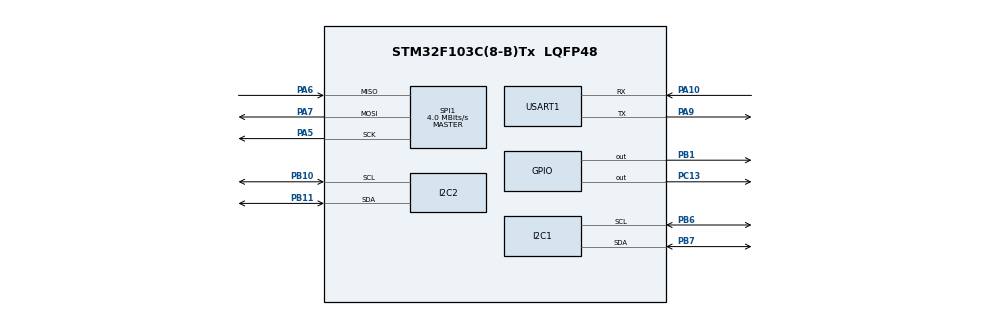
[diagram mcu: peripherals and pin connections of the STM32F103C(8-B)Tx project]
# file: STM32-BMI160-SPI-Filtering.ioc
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Dma.MEMTOMEM.0.Direction=DMA_MEMORY_TO_MEMORY
Dma.MEMTOMEM.0.Instance=DMA1_Channel1
Dma.MEMTOMEM.0.MemDataAlignment=DMA_MDATAALIGN_BYTE
Dma.MEMTOMEM.0.MemInc=DMA_MINC_ENABLE
Dma.MEMTOMEM.0.Mode=DMA_NORMAL
Dma.MEMTOMEM.0.PeriphDataAlignment=DMA_PDATAALIGN_BYTE
Dma.MEMTOMEM.0.PeriphInc=DMA_PINC_ENABLE
Dma.MEMTOMEM.0.Priority=DMA_PRIORITY_LOW
Dma.MEMTOMEM.1.Direction=DMA_MEMORY_TO_MEMORY
Dma.MEMTOMEM.1.Instance=DMA1_Channel2
Dma.MEMTOMEM.1.MemDataAlignment=DMA_MDATAALIGN_BYTE
Dma.MEMTOMEM.1.MemInc=DMA_MINC_ENABLE
Dma.MEMTOMEM.1.Mode=DMA_NORMAL
Dma.MEMTOMEM.1.PeriphDataAlignment=DMA_PDATAALIGN_BYTE
Dma.MEMTOMEM.1.PeriphInc=DMA_PINC_ENABLE
Dma.MEMTOMEM.1.Priority=DMA_PRIORITY_LOW
Dma.Request0=MEMTOMEM
Dma.Request1=MEMTOMEM
Mcu.Family=STM32F1
Mcu.Name=STM32F103C(8-B)Tx
Mcu.Package=LQFP48
NVIC.PriorityGroup=NVIC_PRIORITYGROUP_4
PA10.Mode=Asynchronous
PA10.Signal=USART1_RX
PA13.Mode=Serial_Wire
PA13.Signal=SYS_JTMS-SWDIO
PA14.Mode=Serial_Wire
PA14.Signal=SYS_JTCK-SWCLK
PA5.Mode=Full_Duplex_Master
PA5.Signal=SPI1_SCK
PA6.Mode=Full_Duplex_Master
PA6.Signal=SPI1_MISO
PA7.Mode=Full_Duplex_Master
PA7.Signal=SPI1_MOSI
PA9.Mode=Asynchronous
PA9.Signal=USART1_TX
PB1.PinState=GPIO_PIN_SET
PB1.Signal=GPIO_Output
PB10.Mode=I2C
PB10.Signal=I2C2_SCL
PB11.Mode=I2C
PB11.Signal=I2C2_SDA
PB6.Mode=I2C
PB6.Signal=I2C1_SCL
PB7.Mode=I2C
PB7.Signal=I2C1_SDA
PC13-TAMPER-RTC.Signal=GPIO_Output
PD0-OSC_IN.Mode=HSE-External-Oscillator
PD0-OSC_IN.Signal=RCC_OSC_IN
PD1-OSC_OUT.Mode=HSE-External-Oscillator
PD1-OSC_OUT.Signal=RCC_OSC_OUT
ProjectManager.HeapSize=0x200
ProjectManager.StackSize=0x400
ProjectManager.TargetToolchain=STM32CubeIDE
RCC.APB1Freq_Value=8000000
RCC.APB2Freq_Value=8000000
SPI1.CalculateBaudRate=4.0 MBits/s
SPI1.Direction=SPI_DIRECTION_2LINES
SPI1.Mode=SPI_MODE_MASTER
SPI1.VirtualType=VM_MASTER
USART1.VirtualMode=VM_ASYNC
board=custom

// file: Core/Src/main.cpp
/* USER CODE BEGIN Header */
/**
  ******************************************************************************
  * @file           : main.c
  * @brief          : Main program body
  ******************************************************************************
  * @attention
  *
  * Copyright (c) 2024 STMicroelectronics.
  * All rights reserved.
  *
  * This software is licensed under terms that can be found in the LICENSE file
  * in the root directory of this software component.
  * If no LICENSE file comes with this software, it is provided AS-IS.
  *
  ******************************************************************************
  */
/* USER CODE END Header */
#include "main.h"
#include "dma.h"
#include "i2c.h"
#include "spi.h"
#include "usart.h"
#include "gpio.h"

/* USER CODE BEGIN Includes */

#include <stdio.h>

#include <bmi160_defs.h>

#include "sensors/sensor_bmi160.h"

#include "filtering/kalman-filtering/kalman_filtering.h"
#include "filtering/calibration-filtering/calibration.h"
#include "filtering/complementary-filter/complementary.h"

/* USER CODE END Includes */

void SystemClock_Config(void);

int main(void)
{

  /* MCU Configuration--------------------------------------------------------*/

  /* Reset of all peripherals, Initializes the Flash interface and the Systick. */
  HAL_Init();

  /* Configure the system clock */
  SystemClock_Config();

  /* Initialize all configured peripherals */
  MX_DMA_Init();
  MX_GPIO_Init();
  MX_I2C1_Init();
  MX_I2C2_Init();
  MX_SPI1_Init();
  MX_USART1_UART_Init();
  /* USER CODE BEGIN 2 */
  printf("STM32 Initialized!\n");

  int status = sensor_bmi160_init();
  if (status != SENSOR_OK){
	  printf ("Error initializing!\n");
  }

  /* USER CODE END 2 */

  /* Infinite loop */
  /* USER CODE BEGIN WHILE */

  GPIO_PinState led_state = GPIO_PIN_RESET;
  HAL_GPIO_WritePin(GPIOC, GPIO_PIN_13, led_state);

  /* USER CODE END WHILE */

  /* USER CODE BEGIN 3 */

//  filtering_main();
//  calibration_main();
  complementary_main();

  printf("Program end!\n");
  while(1);
  /* USER CODE END 3 */
}

void SystemClock_Config(void)
{
  RCC_OscInitTypeDef RCC_OscInitStruct = {0};
  RCC_ClkInitTypeDef RCC_ClkInitStruct = {0};

  /** Initializes the RCC Oscillators according to the specified parameters
  * in the RCC_OscInitTypeDef structure.
  */
  RCC_OscInitStruct.OscillatorType = RCC_OSCILLATORTYPE_HSI;
  RCC_OscInitStruct.HSIState = RCC_HSI_ON;
  RCC_OscInitStruct.HSICalibrationValue = RCC_HSICALIBRATION_DEFAULT;
  RCC_OscInitStruct.PLL.PLLState = RCC_PLL_NONE;
  if (HAL_RCC_OscConfig(&RCC_OscInitStruct) != HAL_OK)
  {
    Error_Handler();
  }

  /** Initializes the CPU, AHB and APB buses clocks
  */
  RCC_ClkInitStruct.ClockType = RCC_CLOCKTYPE_HCLK|RCC_CLOCKTYPE_SYSCLK
                              |RCC_CLOCKTYPE_PCLK1|RCC_CLOCKTYPE_PCLK2;
  RCC_ClkInitStruct.SYSCLKSource = RCC_SYSCLKSOURCE_HSI;
  RCC_ClkInitStruct.AHBCLKDivider = RCC_SYSCLK_DIV1;
  RCC_ClkInitStruct.APB1CLKDivider = RCC_HCLK_DIV1;
  RCC_ClkInitStruct.APB2CLKDivider = RCC_HCLK_DIV1;

  if (HAL_RCC_ClockConfig(&RCC_ClkInitStruct, FLASH_LATENCY_0) != HAL_OK)
  {
    Error_Handler();
  }
}

void Error_Handler(void)
{
  __disable_irq();
  while (1)
  {
  }
}
